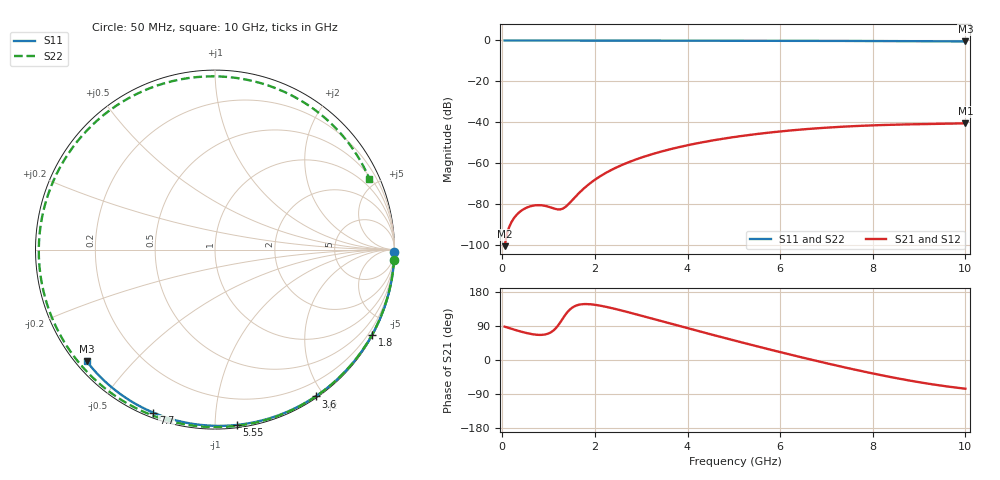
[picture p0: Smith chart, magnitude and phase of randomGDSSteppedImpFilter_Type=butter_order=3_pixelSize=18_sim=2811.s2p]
! freq	dB(S11)	phase(S11)	dB(S12)	phase(S12)
!  dB(S21)	phase(S21)	dB(S22)	phase(S22)
!S-par simulation data
#  GHz  S  DB  R 50
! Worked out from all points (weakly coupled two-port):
!   200 points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, 50 MHz to 10 GHz, reference 50 ohm
!   highest |S21| = -40.46 dB at 10 GHz (marker M1); lowest = -100.4 dB at 50 MHz (marker M2)
!   lowest |S11| = -0.5 dB at 10 GHz (marker M3), VSWR 37.28, Z = 1.53 - j18.7 ohm
!   |S11| at or under -10 dB: nowhere
!   |S22| runs from -0.5 to 0.0 dB; largest |S21 - S12| = 0
!   S11 on the Smith chart (normalised r, x): 50 MHz: open; 1.8 GHz: 0.03, -3.94; 3.6 GHz: 0.02, -1.90; 5.55 GHz: 0.02, -1.13; 7.7 GHz: 0.02, -0.69; 10 GHz: 0.03, -0.37
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0.05  -0.00 -0.8  -100.43 88.0  -100.43 88.0  -0.00 -3.2
0.4  -0.01 -6.4  -83.28 75.0  -83.28 75.0  -0.04 -25.4
0.75  -0.02 -12.0  -80.43 66.6  -80.43 66.6  -0.06 -46.6
1.05  -0.02 -16.7  -81.54 73.1  -81.54 73.1  -0.07 -63.5
1.4  -0.03 -22.2  -80.56 125.5  -80.56 125.5  -0.09 -81.7
1.45  -0.03 -23.0  -79.44 132.1  -79.44 132.1  -0.09 -84.2
1.75  -0.04 -27.7  -72.48 147.4  -72.48 147.4  -0.10 -98.2
1.8  -0.04 -28.5  -71.49 147.6  -71.49 147.6  -0.10 -100.4
2.1  -0.04 -33.1  -66.50 143.7  -66.50 143.7  -0.11 -113.0
2.45  -0.05 -38.4  -62.16 134.4  -62.16 134.4  -0.12 -126.4
2.9  -0.06 -45.2  -57.98 120.3  -57.98 120.3  -0.13 -142.0
3.4  -0.07 -52.7  -54.44 103.8  -54.44 103.8  -0.14 -157.6
3.6  -0.07 -55.6  -53.25 97.2  -53.25 97.2  -0.14 -163.4
4.3  -0.09 -65.7  -49.80 74.3  -49.80 74.3  -0.16 177.3
5.05  -0.12 -76.2  -47.01 50.2  -47.01 50.2  -0.19 158.1
5.55  -0.14 -83.0  -45.54 34.6  -45.54 34.6  -0.21 145.6
6.7  -0.19 -98.1  -43.04 0.1  -43.04 0.1  -0.26 116.9
7.2  -0.22 -104.5  -42.29 -14.2  -42.29 -14.2  -0.28 104.1
7.7  -0.25 -110.8  -41.72 -27.7  -41.72 -27.7  -0.31 90.9
8.35  -0.30 -118.8  -41.19 -44.1  -41.19 -44.1  -0.34 73.2
9.15  -0.38 -128.6  -40.81 -61.6  -40.81 -61.6  -0.39 50.2
10  -0.47 -139.0  -40.46 -75.8  -40.46 -75.8  -0.48 24.6
